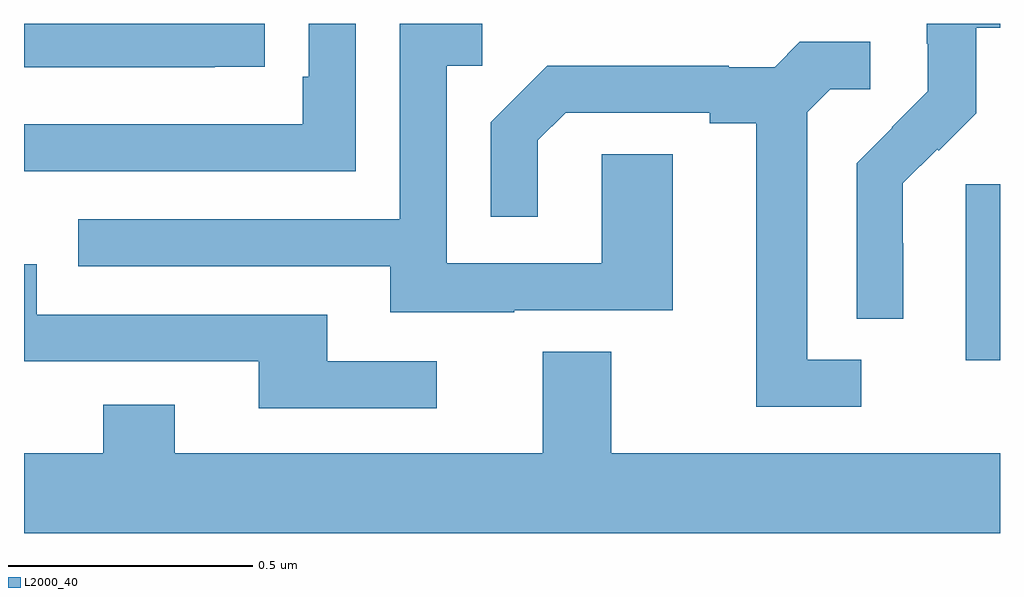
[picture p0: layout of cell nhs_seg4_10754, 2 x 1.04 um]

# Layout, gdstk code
import gdstk
lib = gdstk.Library(unit=1e-6, precision=1e-09)
def R(c, l, rs):  # rectangles x0, y0, x1, y1
    for r in rs: c.add(gdstk.rectangle(r[:2], r[2:], *l))
def P(c, l, *ps):  # polygons
    for p in ps: c.add(gdstk.Polygon(p, *l))
L2000_40 = (2000, 40)

nhs_seg4_10754 = lib.new_cell('nhs_seg4_10754')
R(nhs_seg4_10754, L2000_40, [(245.93,761.21,246,761.571)])
P(nhs_seg4_10754, L2000_40, [(245.005,761.313),(245.329,761.313),(245.329,761.633),(245.184,761.633),(245.184,761.409),(244.866,761.409),(244.866,761.814),(244.939,761.814),(244.939,761.9),(244.77,761.9),(244.77,761.499),(244.111,761.499),(244.111,761.403),(244.751,761.403),(244.751,761.309),(245.005,761.309)],
  [(244.391,761.812),(244.493,761.812),(244.493,761.9),(244,761.9),(244,761.811),(244.391,761.811)],
  [(244.68,761.9),(244.584,761.9),(244.584,761.791),(244.571,761.791),(244.571,761.694),(244,761.694),(244,761.598),(244.68,761.598)],
  [(245.802,761.45),(245.801,761.45),(245.801,761.573),(245.871,761.643),(245.874,761.64),(245.951,761.717),(245.951,761.892),(246,761.892),(246,761.9),(245.85,761.9),(245.85,761.859),(245.852,761.859),(245.852,761.762),(245.778,761.688),(245.779,761.687),(245.706,761.614),(245.706,761.296),(245.802,761.296)],
  [(245.716,761.211),(245.605,761.211),(245.605,761.719),(245.652,761.766),(245.734,761.766),(245.734,761.863),(245.59,761.863),(245.538,761.811),(245.444,761.811),(245.444,761.814),(245.072,761.814),(244.956,761.698),(244.956,761.505),(245.053,761.505),(245.053,761.661),(245.11,761.718),(245.405,761.718),(245.405,761.696),(245.501,761.696),(245.501,761.115),(245.716,761.115)],
  [(244.846,761.208),(244.621,761.208),(244.621,761.304),(244.026,761.304),(244.026,761.407),(244,761.407),(244,761.208),(244.481,761.208),(244.481,761.112),(244.846,761.112)],
  [(246,761.02),(245.203,761.02),(245.203,761.228),(245.063,761.228),(245.063,761.02),(244.309,761.02),(244.309,761.119),(244.162,761.119),(244.162,761.02),(244,761.02),(244,760.856),(246,760.856)])

lib.write_gds('nhs_seg4_10754.gds')
